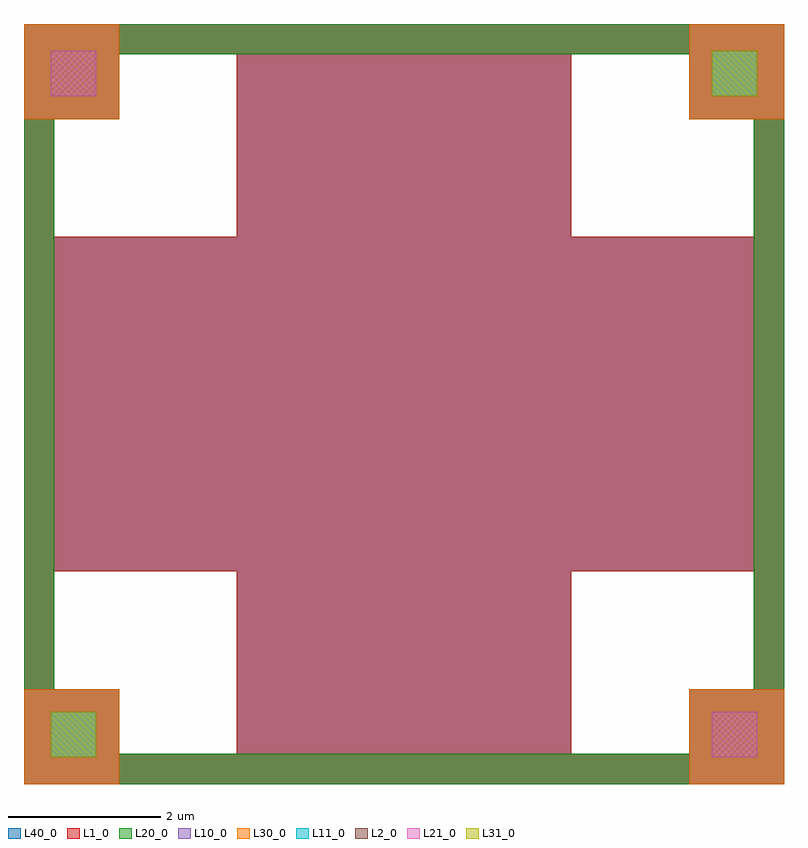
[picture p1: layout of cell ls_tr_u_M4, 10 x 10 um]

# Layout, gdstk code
import gdstk
lib = gdstk.Library(unit=1e-6, precision=1e-09)
def R(c, l, rs):  # rectangles x0, y0, x1, y1
    for r in rs: c.add(gdstk.rectangle(r[:2], r[2:], *l))
def P(c, l, *ps):  # polygons
    for p in ps: c.add(gdstk.Polygon(p, *l))
L1_0 = (1, 0)
L2_0 = (2, 0)
L10_0 = (10, 0)
L11_0 = (11, 0)
L20_0 = (20, 0)
L21_0 = (21, 0)
L30_0 = (30, 0)
L31_0 = (31, 0)
L40_0 = (40, 0)

ls_tr_u_m4 = lib.new_cell('ls_tr_u_M4')
P(ls_tr_u_m4, L1_0, [(0,0),(0,10),(1.25,10),(1.25,8.75),(0.4,8.75),(0.4,1.25),(1.25,1.25),(1.25,0.4),(2.8,0.4),(2.8,2.8),(0.4,2.8),(0.4,7.2),(2.8,7.2),(2.8,9.6),(1.25,9.6),(1.25,10),(7.2,10),(7.2,0.4),(8.75,0.4),(8.75,1.25),(9.6,1.25),(9.6,2.8),(7.2,2.8),(7.2,7.2),(9.6,7.2),(9.6,8.75),(8.75,8.75),(8.75,9.6),(7.2,9.6),(7.2,10),(10,10),(10,0)])
R(ls_tr_u_m4, L2_0, [(9.05,0.35,9.65,0.95), (0.35,9.05,0.95,9.65)])
R(ls_tr_u_m4, L10_0, [(0,0,1.25,1.25), (8.75,0,10,1.25), (0,8.75,1.25,10), (8.75,8.75,10,10)])
R(ls_tr_u_m4, L11_0, [(0.35,0.35,0.95,0.95), (9.05,9.05,9.65,9.65)])
P(ls_tr_u_m4, L20_0, [(0,0),(0,10),(1.25,10),(1.25,8.75),(0.4,8.75),(0.4,1.25),(1.25,1.25),(1.25,0.4),(8.75,0.4),(8.75,1.25),(9.6,1.25),(9.6,8.75),(8.75,8.75),(8.75,9.6),(1.25,9.6),(1.25,10),(10,10),(10,0)])
R(ls_tr_u_m4, L21_0, [(9.05,0.35,9.65,0.95), (0.35,9.05,0.95,9.65)])
R(ls_tr_u_m4, L30_0, [(0,0,1.25,1.25), (8.75,0,10,1.25), (0,8.75,1.25,10), (8.75,8.75,10,10)])
R(ls_tr_u_m4, L31_0, [(0.35,0.35,0.95,0.95), (9.05,9.05,9.65,9.65)])
P(ls_tr_u_m4, L40_0, [(0,0),(0,10),(1.25,10),(1.25,8.75),(0.4,8.75),(0.4,1.25),(1.25,1.25),(1.25,0.4),(2.8,0.4),(2.8,2.8),(0.4,2.8),(0.4,7.2),(2.8,7.2),(2.8,9.6),(1.25,9.6),(1.25,10),(7.2,10),(7.2,0.4),(8.75,0.4),(8.75,1.25),(9.6,1.25),(9.6,2.8),(7.2,2.8),(7.2,7.2),(9.6,7.2),(9.6,8.75),(8.75,8.75),(8.75,9.6),(7.2,9.6),(7.2,10),(10,10),(10,0)])

lib.write_gds('ls_tr_u_M4.gds')
